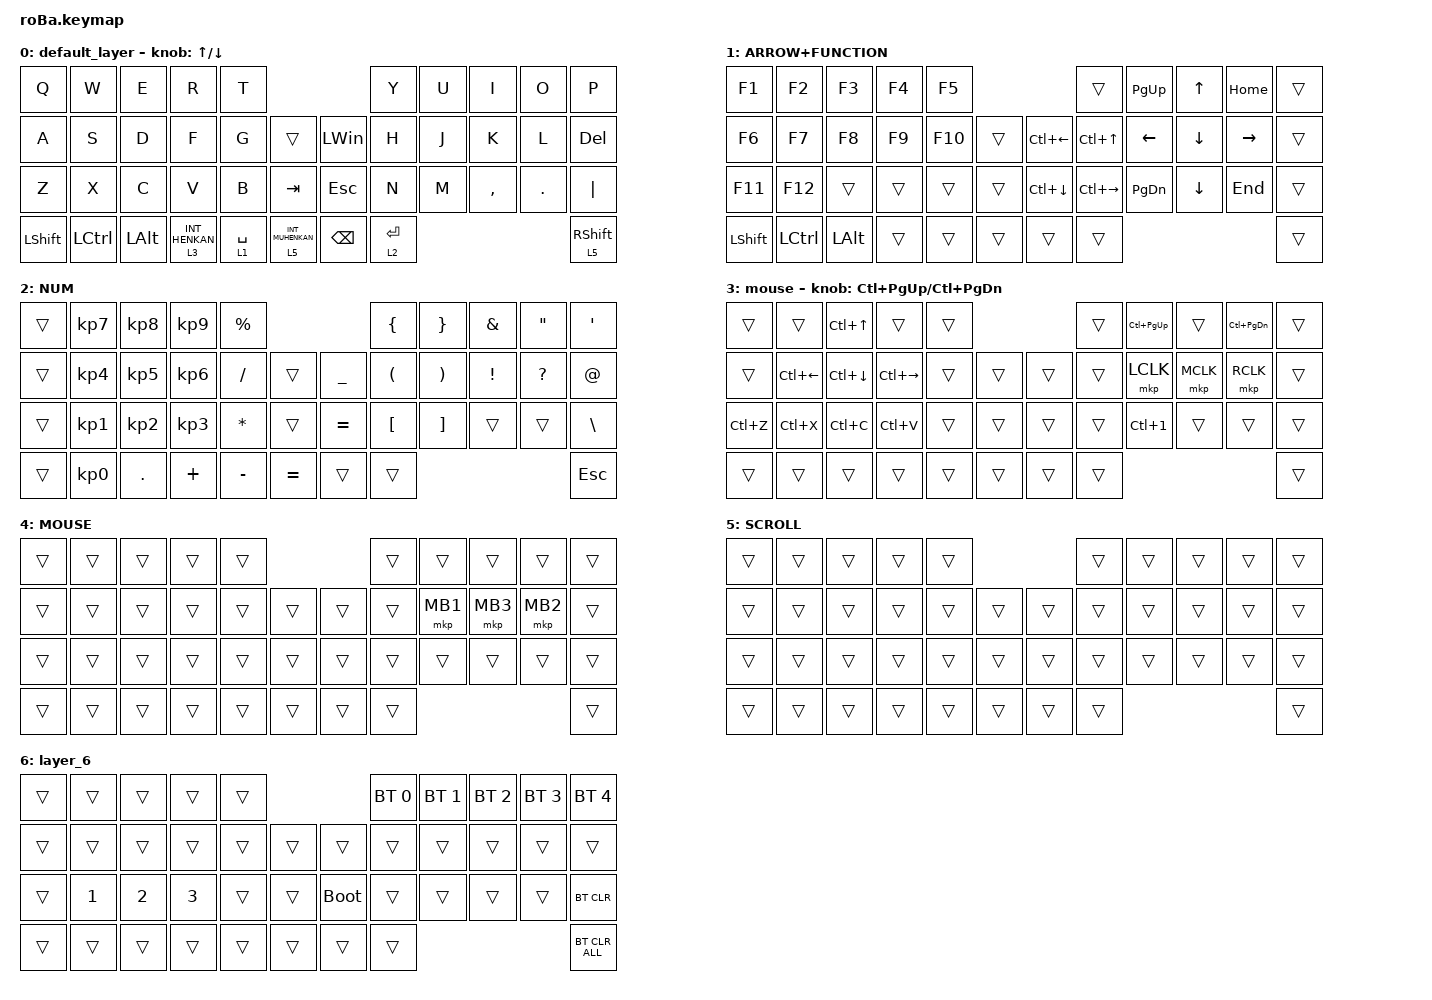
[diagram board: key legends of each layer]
#include <behaviors.dtsi>
#include <dt-bindings/zmk/bt.h>
#include <dt-bindings/zmk/keys.h>
#include <dt-bindings/zmk/pointing.h>

&mt {
    flavor = "balanced";
    quick-tap-ms = <0>;
};

&trackball {
    automouse-layer = <4>;
    scroll-layers = <5>;

    // arrows {
    //     layers = <3>;
    //     bindings =
    //         <&kp RIGHT_ARROW>,
    //         <&kp LEFT_ARROW>,
    //         <&kp UP_ARROW>,
    //         <&kp DOWN_ARROW>;
    //     tick = <10>;
    //     wait-ms = <5>;
    //     tap-ms = <5>;
    // };
};

/ {
    combos {
        compatible = "zmk,combos";

        tab {
            bindings = <&kp TAB>;
            key-positions = <11 12>;
        };

        shift_tab {
            bindings = <&kp LS(TAB)>;
            key-positions = <12 13>;
        };

        muhennkann {
            bindings = <&to_layer_0 INT_MUHENKAN>;
            key-positions = <11 10>;
        };

        double_quotation {
            bindings = <&kp DOUBLE_QUOTES>;
            key-positions = <20 21>;
        };

        eq {
            bindings = <&kp EQUAL>;
            key-positions = <24 25>;
        };
    };

    macros {
        to_layer_0: to_layer_0 {
            compatible = "zmk,behavior-macro-one-param";
            #binding-cells = <1>;
            bindings = <&to 0 &macro_param_1to1 &kp MACRO_PLACEHOLDER>;
            label = "TO_LAYER_0";
        };
    };

    behaviors {
        lt_to_layer_0: lt_to_layer_0 {
            compatible = "zmk,behavior-hold-tap";
            label = "LAYER_TAP_TO_0";
            bindings = <&mo>, <&to_layer_0>;

            #binding-cells = <2>;
            tapping-term-ms = <200>;
        };
    };

    keymap {
        compatible = "zmk,keymap";

        default_layer {
            bindings = <
&kp Q           &kp W             &kp E         &kp R             &kp T                                               &kp Y        &kp U  &kp I      &kp O       &kp P
&kp A           &kp S             &kp D         &kp F             &kp G        &trans                  &kp LEFT_WIN   &kp H        &kp J  &kp K      &kp L       &kp DELETE
&kp Z           &kp X             &kp C         &kp V             &kp B        &kp TAB                 &kp ESC        &kp N        &kp M  &kp COMMA  &kp PERIOD  &kp PIPE
&kp LEFT_SHIFT  &kp LEFT_CONTROL  &kp LEFT_ALT  &lt 3 INT_HENKAN  &lt 1 SPACE  &lt 5 INT_MUHENKAN      &kp BACKSPACE  &lt 2 ENTER                                &lt 5 RIGHT_SHIFT
            >;

            sensor-bindings = <&inc_dec_kp UP DOWN>;
        };

        ARROW+FUNCTION {
            bindings = <
&kp F1          &kp F2            &kp F3        &kp F4  &kp F5                                   &trans               &kp PAGE_UP    &kp UP    &kp HOME   &trans
&kp F6          &kp F7            &kp F8        &kp F9  &kp F10  &trans      &kp LC(LEFT_ARROW)  &kp LC(UP_ARROW)     &kp LEFT       &kp DOWN  &kp RIGHT  &trans
&kp F11         &kp F12           &trans        &trans  &trans   &trans      &kp LC(DOWN_ARROW)  &kp LC(RIGHT_ARROW)  &kp PAGE_DOWN  &kp DOWN  &kp END    &trans
&kp LEFT_SHIFT  &kp LEFT_CONTROL  &kp LEFT_ALT  &trans  &trans   &trans      &trans              &trans                                                   &trans
            >;
        };

        NUM {
            bindings = <
&trans  &kp KP_NUMBER_7  &kp KP_NUMBER_8  &kp KP_NUMBER_9  &kp PERCENT                                  &kp LEFT_BRACE        &kp RIGHT_BRACE        &kp AMPERSAND    &kp DOUBLE_QUOTES  &kp SINGLE_QUOTE
&trans  &kp KP_NUMBER_4  &kp KP_NUMBER_5  &kp KP_NUMBER_6  &kp SLASH     &trans         &kp UNDERSCORE  &kp LEFT_PARENTHESIS  &kp RIGHT_PARENTHESIS  &kp EXCLAMATION  &kp QUESTION       &kp AT_SIGN
&trans  &kp KP_NUMBER_1  &kp KP_NUMBER_2  &kp KP_NUMBER_3  &kp ASTERISK  &trans         &kp EQUAL       &kp LEFT_BRACKET      &kp RIGHT_BRACKET      &trans           &trans             &kp BACKSLASH
&trans  &kp KP_NUMBER_0  &kp PERIOD       &kp PLUS         &kp MINUS     &kp EQUAL      &trans          &trans                                                                           &kp ESC
            >;
        };

        mouse {
            bindings = <
&trans     &trans              &kp LC(UP_ARROW)    &trans               &trans                      &trans  &kp LC(PAGE_UP)   &trans     &kp LC(PAGE_DOWN)  &trans
&trans     &kp LC(LEFT_ARROW)  &kp LC(DOWN_ARROW)  &kp LC(RIGHT_ARROW)  &trans  &trans      &trans  &trans  &mkp LCLK         &mkp MCLK  &mkp RCLK          &trans
&kp LC(Z)  &kp LC(X)           &kp LC(C)           &kp LC(V)            &trans  &trans      &trans  &trans  &kp LC(NUMBER_1)  &trans     &trans             &trans
&trans     &trans              &trans              &trans               &trans  &trans      &trans  &trans                                                  &trans
            >;

            sensor-bindings = <&inc_dec_kp LC(PAGE_UP) LC(PAGE_DOWN)>;
        };

        MOUSE {
            bindings = <
&trans  &trans  &trans  &trans  &trans                      &trans  &trans    &trans    &trans    &trans
&trans  &trans  &trans  &trans  &trans  &trans      &trans  &trans  &mkp MB1  &mkp MB3  &mkp MB2  &trans
&trans  &trans  &trans  &trans  &trans  &trans      &trans  &trans  &trans    &trans    &trans    &trans
&trans  &trans  &trans  &trans  &trans  &trans      &trans  &trans                                &trans
            >;
        };

        SCROLL {
            bindings = <
&trans  &trans  &trans  &trans  &trans                      &trans  &trans  &trans  &trans  &trans
&trans  &trans  &trans  &trans  &trans  &trans      &trans  &trans  &trans  &trans  &trans  &trans
&trans  &trans  &trans  &trans  &trans  &trans      &trans  &trans  &trans  &trans  &trans  &trans
&trans  &trans  &trans  &trans  &trans  &trans      &trans  &trans                          &trans
            >;
        };

        layer_6 {
            bindings = <
&trans  &trans        &trans        &trans        &trans                           &bt BT_SEL 0  &bt BT_SEL 1  &bt BT_SEL 2  &bt BT_SEL 3  &bt BT_SEL 4
&trans  &trans        &trans        &trans        &trans  &trans      &trans       &trans        &trans        &trans        &trans        &trans
&trans  &kp NUMBER_1  &kp NUMBER_2  &kp NUMBER_3  &trans  &trans      &bootloader  &trans        &trans        &trans        &trans        &bt BT_CLR
&trans  &trans        &trans        &trans        &trans  &trans      &trans       &trans                                                  &bt BT_CLR_ALL
            >;
        };
    };
};
